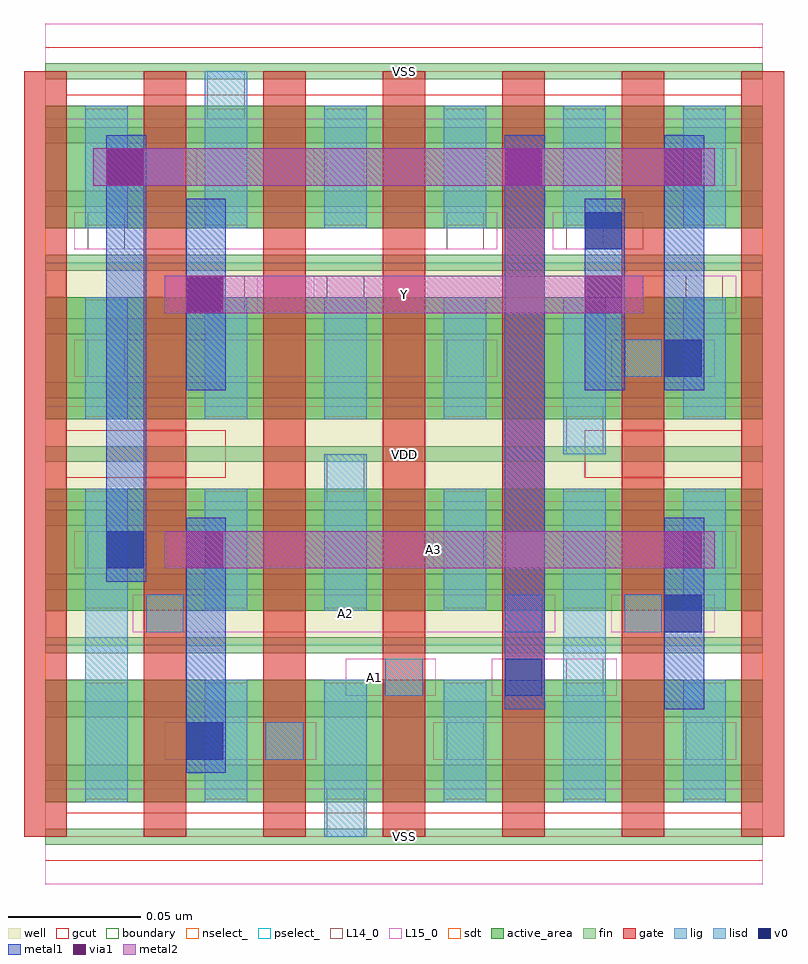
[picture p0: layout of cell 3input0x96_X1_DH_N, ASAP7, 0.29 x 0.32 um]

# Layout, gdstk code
import gdstk
lib = gdstk.Library(unit=1e-6, precision=1e-09)
def R(c, l, rs):  # rectangles x0, y0, x1, y1
    for r in rs: c.add(gdstk.rectangle(r[:2], r[2:], *l))
def A(c, l, x, y, w, h, nx, ny, dx, dy):  # array of equal rectangles
    R(c, l, [(x+i*dx, y+j*dy, x+i*dx+w, y+j*dy+h) for i in range(nx) for j in range(ny)])
def P(c, l, *ps):  # polygons
    for p in ps: c.add(gdstk.Polygon(p, *l))
well = (1, 0)
fin = (2, 0)
gate = (7, 0)
gcut = (10, 0)
active_area = (11, 0)
nselect_ = (12, 0)
pselect_ = (13, 0)
L14_0 = (14, 0)
L15_0 = (15, 0)
lig = (16, 0)
lisd = (17, 0)
v0 = (18, 0)
metal1 = (19, 0)
metal2 = (20, 0)
via1 = (21, 0)
sdt = (88, 0)
boundary = (100, 0)

c_3input0x96_x1_dh_n = lib.new_cell('3input0x96_X1_DH_N')
R(c_3input0x96_x1_dh_n, well, [(0,0.072,0.27,0.144), (0,0.144,0.27,0.216)])
A(c_3input0x96_x1_dh_n, fin, 0, -0.003, 0.27, 0.006, 1, 13, 0, 0.024)
A(c_3input0x96_x1_dh_n, gate, -0.008, 0, 0.016, 0.288, 7, 1, 0.045, 0)
P(c_3input0x96_x1_dh_n, gcut, [(0,-0.009),(0,0),(-0.008,0),(-0.008,0.279),(0.008,0.279),(0.008,0.153),(0.068,0.153),(0.068,0.135),(0.008,0.135),(0.008,0.009),(0.262,0.009),(0.262,0.135),(0.203,0.135),(0.203,0.153),(0.262,0.153),(0.262,0.279),(-0.008,0.279),(-0.008,0.288),(0,0.288),(0,0.297),(0.27,0.297),(0.27,0.288),(0.278,0.288),(0.278,0),(0.27,0),(0.27,-0.009)])
A(c_3input0x96_x1_dh_n, active_area, 0, 0.013, 0.27, 0.046, 1, 4, 0, 0.072)
R(c_3input0x96_x1_dh_n, nselect_, [(0,0,0.27,0.072), (0,0.216,0.27,0.288)])
R(c_3input0x96_x1_dh_n, pselect_, [(0,0.072,0.27,0.144), (0,0.144,0.27,0.216)])
A(c_3input0x96_x1_dh_n, L14_0, 0.151, 0.029, 0.014, 0.014, 1, 3, 0, 0.072)
R(c_3input0x96_x1_dh_n, L14_0, [(0.106,0,0.12,0.018), (0.083,0.029,0.097,0.043), (0.241,0.029,0.255,0.043), (0.128,0.053,0.142,0.067), (0.196,0.053,0.21,0.067), (0.038,0.077,0.052,0.091), (0.173,0.077,0.187,0.091), (0.218,0.077,0.232,0.091), (0.016,0.101,0.03,0.115), (0.241,0.101,0.255,0.115), (0.106,0.126,0.12,0.144), (0.196,0.144,0.21,0.162), (0.016,0.173,0.03,0.187), (0.218,0.173,0.232,0.187), (0.061,0.197,0.075,0.211), (0.106,0.197,0.12,0.211), (0.241,0.197,0.255,0.211), (0.016,0.221,0.03,0.235), (0.151,0.221,0.165,0.235), (0.196,0.221,0.21,0.235), (0.038,0.245,0.052,0.259), (0.106,0.245,0.12,0.259), (0.241,0.245,0.255,0.259), (0.061,0.27,0.075,0.288)])
A(c_3input0x96_x1_dh_n, L15_0, 0, -0.018, 0.27, 0.036, 1, 3, 0, 0.144)
R(c_3input0x96_x1_dh_n, L15_0, [(0.045,0.029,0.102,0.043), (0.146,0.029,0.26,0.043), (0.113,0.053,0.147,0.067), (0.168,0.053,0.215,0.067), (0.033,0.077,0.192,0.091), (0.213,0.077,0.252,0.091), (0.011,0.101,0.045,0.115), (0.146,0.101,0.26,0.115), (0.011,0.173,0.17,0.187), (0.213,0.173,0.252,0.187), (0.045,0.197,0.08,0.211), (0.101,0.197,0.26,0.211), (0.011,0.221,0.17,0.235), (0.191,0.221,0.225,0.235), (0.018,0.245,0.057,0.259), (0.101,0.245,0.26,0.259)])
R(c_3input0x96_x1_dh_n, lig, [(0.083,0.029,0.097,0.043), (0.128,0.053,0.142,0.067), (0.038,0.077,0.052,0.091), (0.173,0.077,0.187,0.091), (0.218,0.077,0.232,0.091), (0.218,0.173,0.232,0.187), (0.038,0.245,0.052,0.259)])
A(c_3input0x96_x1_dh_n, lisd, 0.06, 0.013, 0.016, 0.046, 3, 2, 0.09, 0.072)
A(c_3input0x96_x1_dh_n, lisd, 0.015, 0.157, 0.016, 0.046, 4, 1, 0.045, 0)
A(c_3input0x96_x1_dh_n, lisd, 0.105, 0.229, 0.016, 0.046, 4, 1, 0.045, 0)
R(c_3input0x96_x1_dh_n, lisd, [(0.105,0,0.121,0.059), (0.015,0.013,0.031,0.131), (0.195,0.013,0.211,0.131), (0.105,0.085,0.121,0.144), (0.195,0.144,0.211,0.203), (0.24,0.157,0.256,0.203), (0.015,0.229,0.031,0.275), (0.06,0.229,0.076,0.288)])
R(c_3input0x96_x1_dh_n, v0, [(0.053,0.029,0.067,0.043), (0.173,0.053,0.187,0.067), (0.233,0.077,0.247,0.091), (0.023,0.101,0.037,0.115), (0.233,0.173,0.247,0.187), (0.053,0.197,0.067,0.211), (0.203,0.221,0.217,0.235), (0.023,0.245,0.037,0.259)])
R(c_3input0x96_x1_dh_n, metal1, [(0.053,0.024,0.068,0.12), (0.173,0.048,0.188,0.264), (0.233,0.048,0.248,0.12), (0.023,0.096,0.038,0.264), (0.053,0.168,0.068,0.24), (0.203,0.168,0.218,0.24), (0.233,0.168,0.248,0.264)])
R(c_3input0x96_x1_dh_n, metal2, [(0.045,0.101,0.252,0.115), (0.045,0.197,0.225,0.211), (0.018,0.245,0.252,0.259)])
R(c_3input0x96_x1_dh_n, via1, [(0.053,0.101,0.067,0.115), (0.233,0.101,0.247,0.115), (0.053,0.197,0.067,0.211), (0.203,0.197,0.217,0.211), (0.023,0.245,0.037,0.259), (0.173,0.245,0.187,0.259), (0.233,0.245,0.247,0.259)])
A(c_3input0x96_x1_dh_n, sdt, 0.015, 0.014, 0.016, 0.044, 6, 4, 0.045, 0.072)
R(c_3input0x96_x1_dh_n, boundary, [(0,0,0.27,0.288)])
c_3input0x96_x1_dh_n.add(gdstk.Label('A1', (0.124,0.06), layer=15, texttype=251))
c_3input0x96_x1_dh_n.add(gdstk.Label('VSS', (0.135,0), layer=15, texttype=251))
c_3input0x96_x1_dh_n.add(gdstk.Label('VDD', (0.135,0.144), layer=15, texttype=251))
c_3input0x96_x1_dh_n.add(gdstk.Label('VDD', (0.135,0.144), layer=15, texttype=251))
c_3input0x96_x1_dh_n.add(gdstk.Label('VSS', (0.135,0.288), layer=15, texttype=251))
c_3input0x96_x1_dh_n.add(gdstk.Label('VSS', (0.135,0), layer=15, texttype=251))
c_3input0x96_x1_dh_n.add(gdstk.Label('VDD', (0.135,0.144), layer=15, texttype=251))
c_3input0x96_x1_dh_n.add(gdstk.Label('VDD', (0.135,0.144), layer=15, texttype=251))
c_3input0x96_x1_dh_n.add(gdstk.Label('VSS', (0.135,0.288), layer=15, texttype=251))
c_3input0x96_x1_dh_n.add(gdstk.Label('A2', (0.113,0.084), layer=15, texttype=251))
c_3input0x96_x1_dh_n.add(gdstk.Label('VSS', (0.135,0), layer=15, texttype=251))
c_3input0x96_x1_dh_n.add(gdstk.Label('VDD', (0.135,0.144), layer=15, texttype=251))
c_3input0x96_x1_dh_n.add(gdstk.Label('VDD', (0.135,0.144), layer=15, texttype=251))
c_3input0x96_x1_dh_n.add(gdstk.Label('VSS', (0.135,0.288), layer=15, texttype=251))
c_3input0x96_x1_dh_n.add(gdstk.Label('VSS', (0.135,0), layer=15, texttype=251))
c_3input0x96_x1_dh_n.add(gdstk.Label('VDD', (0.135,0.144), layer=15, texttype=251))
c_3input0x96_x1_dh_n.add(gdstk.Label('VDD', (0.135,0.144), layer=15, texttype=251))
c_3input0x96_x1_dh_n.add(gdstk.Label('VSS', (0.135,0.288), layer=15, texttype=251))
c_3input0x96_x1_dh_n.add(gdstk.Label('VSS', (0.135,0), layer=3, texttype=251))
c_3input0x96_x1_dh_n.add(gdstk.Label('VSS', (0.135,0.288), layer=3, texttype=251))
c_3input0x96_x1_dh_n.add(gdstk.Label('VSS', (0.135,0), layer=3, texttype=251))
c_3input0x96_x1_dh_n.add(gdstk.Label('VSS', (0.135,0.288), layer=3, texttype=251))
c_3input0x96_x1_dh_n.add(gdstk.Label('VSS', (0.135,0), layer=3, texttype=251))
c_3input0x96_x1_dh_n.add(gdstk.Label('VSS', (0.135,0.288), layer=3, texttype=251))
c_3input0x96_x1_dh_n.add(gdstk.Label('VSS', (0.135,0), layer=3, texttype=251))
c_3input0x96_x1_dh_n.add(gdstk.Label('VSS', (0.135,0.288), layer=3, texttype=251))
c_3input0x96_x1_dh_n.add(gdstk.Label('VDD', (0.135,0.144), layer=1, texttype=251))
c_3input0x96_x1_dh_n.add(gdstk.Label('VDD', (0.135,0.144), layer=1, texttype=251))
c_3input0x96_x1_dh_n.add(gdstk.Label('VDD', (0.135,0.144), layer=1, texttype=251))
c_3input0x96_x1_dh_n.add(gdstk.Label('VDD', (0.135,0.144), layer=1, texttype=251))
c_3input0x96_x1_dh_n.add(gdstk.Label('VDD', (0.135,0.144), layer=1, texttype=251))
c_3input0x96_x1_dh_n.add(gdstk.Label('VDD', (0.135,0.144), layer=1, texttype=251))
c_3input0x96_x1_dh_n.add(gdstk.Label('VDD', (0.135,0.144), layer=1, texttype=251))
c_3input0x96_x1_dh_n.add(gdstk.Label('VDD', (0.135,0.144), layer=1, texttype=251))
c_3input0x96_x1_dh_n.add(gdstk.Label('A3', (0.146,0.108), layer=20, texttype=251))
c_3input0x96_x1_dh_n.add(gdstk.Label('Y', (0.135,0.204), layer=20, texttype=251))

lib.write_gds('3input0x96_X1_DH_N.gds')
